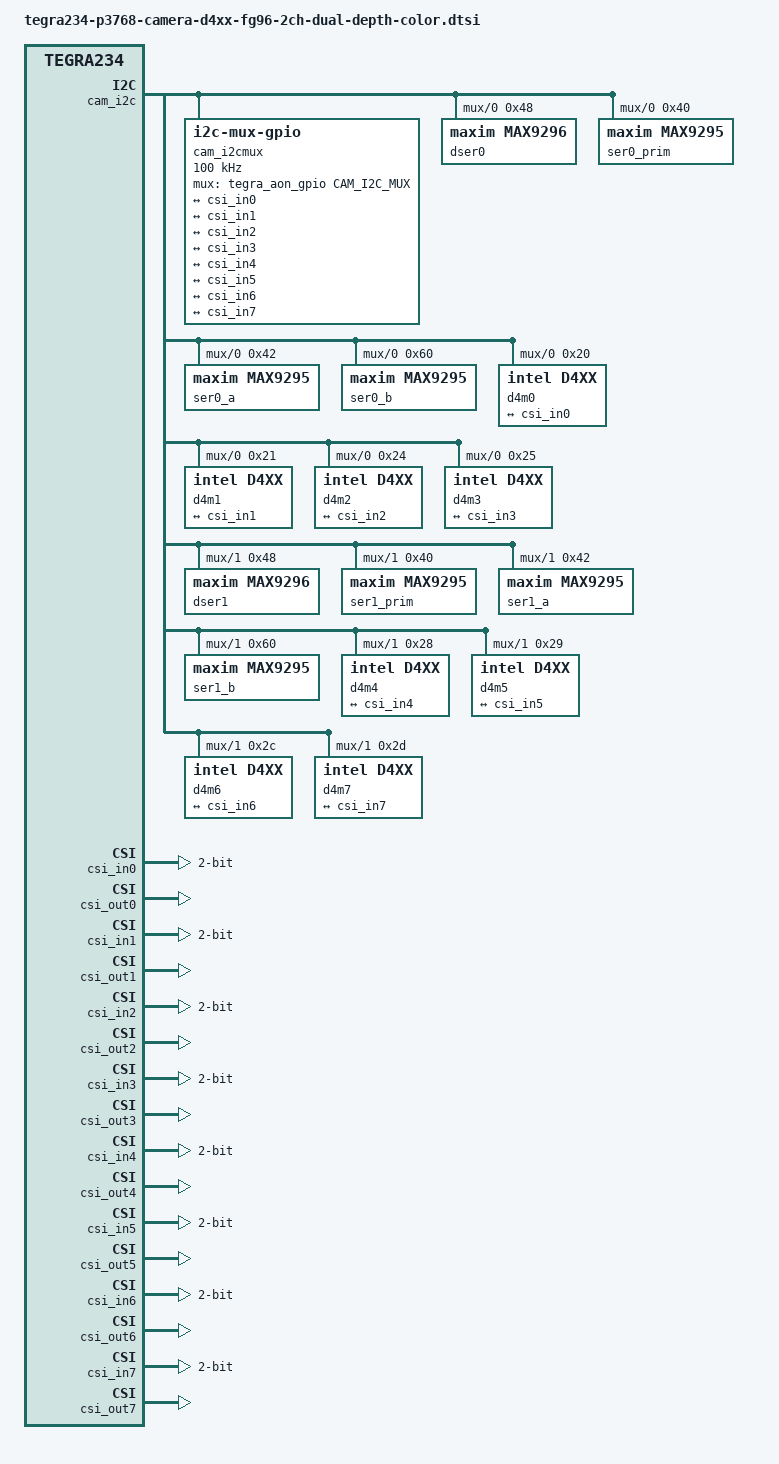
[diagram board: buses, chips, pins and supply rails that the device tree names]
// URL: https://fg96-2ch-doc.readthedocs.io/

#include <dt-bindings/media/camera.h>

#define CAM0_PWDN   TEGRA234_MAIN_GPIO(H, 6)
#define CAM1_PWDN   TEGRA234_MAIN_GPIO(AC, 0)
#define CAM_I2C_MUX TEGRA234_AON_GPIO(CC, 3)

// d4m addr 0x001cclss
// cc: max9296 index.  [0-3] for fg96
// l : a/b link index. [0-1] for a/b
// ss: stream index.   [0-3] for stream. 0: depth 1: color 2: ir 3: imu
// 4x max9296 - 4x d457
// [0x20-0x23][0x28-0x2b][0x30-0x33][0x38-0x3b]
// 4x max9296 - 8x d457
// [0x20-0x23][0x24-0x27]
// [0x28-0x2b][0x2c-0x2f]
// [0x30-0x33][0x34-0x37]
// [0x38-0x3b][0x3c-0x3f]

/ {
	// gpio@2200000 {
	// 	camera-control-output-low {
	// 		gpio-hog;
	// 		output-low;
	// 		gpios = <CAM0_PWDN 0 CAM1_PWDN 0>;
	// 		label = "cam0-pwdn","cam1-pwdn";
	// 	};
	// };

	cam_i2cmux {
		status = "okay";
		compatible = "i2c-mux-gpio";
		#address-cells = <1>;
		#size-cells = <0>;
		i2c-parent = <&cam_i2c>;
		mux-gpios = <&tegra_aon_gpio CAM_I2C_MUX GPIO_ACTIVE_HIGH>;
		clock-frequency = <100000>;

		i2c@0 {
			status = "okay";
			reg = <0>;
			#address-cells = <1>;
			#size-cells = <0>;
			/* MAX9296 I2C2_0x48 - CSI0/1 */
			dser0: max9296@48 {
				status = "okay";
				reg = <0x48>;
				compatible = "maxim,max9296";
				csi-mode = "2x4";
				max-src = <2>;
				is-fg96-2ch;
			};
			ser0_prim: max9295_prim@40 {
				reg = <0x40>;
				compatible = "maxim,max9295";
				#address-cells = <1>;
				#size-cells = <0>;
				is-prim-ser;
				ser-mux = <0>;
			};
			ser0_a: max9295_a@42 {
				reg = <0x42>;
				compatible = "maxim,max9295";
				maxim,gmsl-dser-device = <&dser0>;
			};
			ser0_b: max9295_b@60 {
				reg = <0x60>;
				compatible = "maxim,max9295";
				maxim,gmsl-dser-device = <&dser0>;
			};
			d4m0: d4m@20 {
				status = "okay";
				reg = <0x20>;
				def-addr = <0x10>;
				compatible = "intel,d4xx";
				cam-type = "Depth";
				maxim,gmsl-ser-device = <&ser0_a>;
				maxim,gmsl-dser-device = <&dser0>;
				intel,d4m-mux-device = <&d4m1>;
				ports {
					#address-cells = <1>;
					#size-cells = <0>;

					port@0 {
						reg = <0>;
						d4m0_out: endpoint {
							port-index = <0>;
							bus-width = <2>;
							vc-id = <0>;
							remote-endpoint = <&csi_in0>;
						};
					};
				};
				mode0 {
					pixel_t = "grey_y16";
					num_lanes = "2";
					csi_pixel_bit_depth = "16";
					active_w = "1280";
					active_h = "720";
					tegra_sinterface = "serial_a";
					mclk_khz = "24000";
					pix_clk_hz = "74250000";
					line_length = "1280"; /* 2200 */
					embedded_metadata_height = "1";
				};
				gmsl-link {
					src-csi-port = "b";
					dst-csi-port = "a";
					serdes-csi-link = "a";
					csi-mode = "1x4";
					st-vc = <0>;
					vc-id = <0>;
					num-lanes = <2>;
					ser-mux = <0>;
				};
			};
			d4m1: d4m@21 {
				status = "okay";
				reg = <0x21>;
				def-addr = <0x10>;
				compatible = "intel,d4xx";
				cam-type = "RGB";
				maxim,gmsl-ser-device = <&ser0_a>;
				maxim,gmsl-dser-device = <&dser0>;
				intel,d4m-mux-device = <&d4m1>;
				ports {
					#address-cells = <1>;
					#size-cells = <0>;

					port@0 {
						reg = <0>;
						d4m1_out: endpoint {
							port-index = <0>;
							bus-width = <2>;
							vc-id = <1>;
							remote-endpoint = <&csi_in1>;
						};
					};
				};
				mode0 {
					pixel_t = "grey_y16";
					num_lanes = "2";
					csi_pixel_bit_depth = "16";
					active_w = "1920";
					active_h = "1080";
					tegra_sinterface = "serial_a";
					mclk_khz = "24000";
					pix_clk_hz = "74250000";
					line_length = "1280";
					embedded_metadata_height = "1";
				};
				gmsl-link {
					src-csi-port = "b";
					dst-csi-port = "a";
					serdes-csi-link = "a";
					csi-mode = "1x4";
					st-vc = <0>;
					vc-id = <1>;
					num-lanes = <2>;
					ser-mux = <0>;
				};
			};
			d4m2: d4m@24 {
				status = "okay";
				reg = <0x24>;
				def-addr = <0x10>;
				compatible = "intel,d4xx";
				cam-type = "Depth";
				maxim,gmsl-ser-device = <&ser0_b>;
				maxim,gmsl-dser-device = <&dser0>;
				intel,d4m-mux-device = <&d4m3>;
				ports {
					#address-cells = <1>;
					#size-cells = <0>;

					port@0 {
						reg = <0>;
						d4m2_out: endpoint {
							port-index = <0>;
							bus-width = <2>;
							vc-id = <2>;
							remote-endpoint = <&csi_in2>;
						};
					};
				};
				mode0 {
					pixel_t = "grey_y16";
					num_lanes = "2";
					csi_pixel_bit_depth = "16";
					active_w = "1280";
					active_h = "720";
					tegra_sinterface = "serial_a";
					mclk_khz = "24000";
					pix_clk_hz = "74250000";
					line_length = "1280"; /* 2200 */
					embedded_metadata_height = "1";
				};
				gmsl-link {
					src-csi-port = "b";
					dst-csi-port = "a";
					serdes-csi-link = "b";
					csi-mode = "1x4";
					st-vc = <0>;
					vc-id = <2>;
					num-lanes = <2>;
					ser-mux = <0>;
				};
			};
			d4m3: d4m@25 {
				status = "okay";
				reg = <0x25>;
				def-addr = <0x10>;
				compatible = "intel,d4xx";
				cam-type = "RGB";
				maxim,gmsl-ser-device = <&ser0_b>;
				maxim,gmsl-dser-device = <&dser0>;
				intel,d4m-mux-device = <&d4m3>;
				ports {
					#address-cells = <1>;
					#size-cells = <0>;

					port@0 {
						reg = <0>;
						d4m3_out: endpoint {
							port-index = <0>;
							bus-width = <2>;
							vc-id = <3>;
							remote-endpoint = <&csi_in3>;
						};
					};
				};
				mode0 {
					pixel_t = "grey_y16";
					num_lanes = "2";
					csi_pixel_bit_depth = "16";
					active_w = "1920";
					active_h = "1080";
					tegra_sinterface = "serial_a";
					mclk_khz = "24000";
					pix_clk_hz = "74250000";
					line_length = "1280";
					embedded_metadata_height = "1";
				};
				gmsl-link {
					src-csi-port = "b";
					dst-csi-port = "a";
					serdes-csi-link = "b";
					csi-mode = "1x4";
					st-vc = <0>;
					vc-id = <3>;
					num-lanes = <2>;
					ser-mux = <0>;
				};
			};
		};
		i2c@1 {
			status = "okay";
			reg = <1>;
			#address-cells = <1>;
			#size-cells = <0>;
			/* MAX9296 I2C2_0x48 - CSI2/3 */
			dser1: max9296@48 {
				status = "okay";
				reg = <0x48>;
				compatible = "maxim,max9296";
				csi-mode = "2x4";
				max-src = <2>;
				is-fg96-2ch;
			};

			ser1_prim: max9295_prim@40 {
				status = "okay";
				reg = <0x40>;
				compatible = "maxim,max9295";
				is-prim-ser;
				ser-mux = <1>;
			};

			ser1_a: max9295_a@42 {
				compatible = "maxim,max9295";
				reg = <0x42>;
				maxim,gmsl-dser-device = <&dser1>;
			};
			ser1_b: max9295_b@60 {
				compatible = "maxim,max9295";
				reg = <0x60>;
				maxim,gmsl-dser-device = <&dser1>;
			};

			d4m4: d4m@28 {
				status = "okay";
				reg = <0x28>;
				def-addr = <0x10>;
				compatible = "intel,d4xx";
				cam-type = "Depth";
				maxim,gmsl-ser-device = <&ser1_a>;
				maxim,gmsl-dser-device = <&dser1>;
				intel,d4m-mux-device = <&d4m5>;
				ports {
					#address-cells = <1>;
					#size-cells = <0>;

					port@0 {
						reg = <0>;
						d4m4_out: endpoint {
							port-index = <2>;
							bus-width = <2>;
							vc-id = <0>;
							remote-endpoint = <&csi_in4>;
						};
					};
				};
				mode0 {
					pixel_t = "grey_y16";
					num_lanes = "2";
					csi_pixel_bit_depth = "16";
					active_w = "1280";
					active_h = "720";
					tegra_sinterface = "serial_c";
					mclk_khz = "24000";
					pix_clk_hz = "74250000";
					line_length = "1280";
					embedded_metadata_height = "1";
				};
				gmsl-link {
					src-csi-port = "b";
					dst-csi-port = "a";
					serdes-csi-link = "a";
					csi-mode = "1x4";
					st-vc = <0>;
					vc-id = <0>;
					num-lanes = <2>;
					ser-mux = <1>;
				};
			};

			d4m5: d4m@29 {
				status = "okay";
				reg = <0x29>;
				def-addr = <0x10>;
				compatible = "intel,d4xx";
				cam-type = "RGB";
				maxim,gmsl-ser-device = <&ser1_a>;
				maxim,gmsl-dser-device = <&dser1>;
				intel,d4m-mux-device = <&d4m5>;
				ports {
					#address-cells = <1>;
					#size-cells = <0>;

					port@0 {
						reg = <0>;
						d4m5_out: endpoint {
							port-index = <2>;
							bus-width = <2>;
							vc-id = <1>;
							remote-endpoint = <&csi_in5>;
						};
					};
				};
				mode0 {
					pixel_t = "grey_y16";
					num_lanes = "2";
					csi_pixel_bit_depth = "16";
					active_w = "1920";
					active_h = "1080";
					tegra_sinterface = "serial_c";
					mclk_khz = "24000";
					pix_clk_hz = "74250000";
					line_length = "1280";
					embedded_metadata_height = "1";
				};
				gmsl-link {
					src-csi-port = "b";
					dst-csi-port = "a";
					serdes-csi-link = "a";
					csi-mode = "1x4";
					st-vc = <0>;
					vc-id = <1>;
					num-lanes = <2>;
					ser-mux = <1>;
				};
			};

			d4m6: d4m@2c {
				status = "okay";
				reg = <0x2c>;
				def-addr = <0x10>;
				compatible = "intel,d4xx";
				cam-type = "Depth";
				maxim,gmsl-ser-device = <&ser1_b>;
				maxim,gmsl-dser-device = <&dser1>;
				intel,d4m-mux-device = <&d4m7>;
				ports {
					#address-cells = <1>;
					#size-cells = <0>;

					port@0 {
						reg = <0>;
						d4m6_out: endpoint {
							port-index = <2>;
							bus-width = <2>;
							vc-id = <2>;
							remote-endpoint = <&csi_in6>;
						};
					};
				};
				mode0 {
					pixel_t = "grey_y16";
					num_lanes = "2";
					csi_pixel_bit_depth = "16";
					active_w = "1280";
					active_h = "720";
					tegra_sinterface = "serial_c";
					mclk_khz = "24000";
					pix_clk_hz = "74250000";
					line_length = "1280";
					embedded_metadata_height = "1";
				};
				gmsl-link {
					src-csi-port = "b";
					dst-csi-port = "a";
					serdes-csi-link = "b";
					csi-mode = "1x4";
					st-vc = <0>;
					vc-id = <2>;
					num-lanes = <2>;
					ser-mux = <1>;
				};
			};

			d4m7: d4m@2d {
				status = "okay";
				reg = <0x2d>;
				def-addr = <0x10>;
				compatible = "intel,d4xx";
				cam-type = "RGB";
				maxim,gmsl-ser-device = <&ser1_b>;
				maxim,gmsl-dser-device = <&dser1>;
				intel,d4m-mux-device = <&d4m7>;
				ports {
					#address-cells = <1>;
					#size-cells = <0>;

					port@0 {
						reg = <0>;
						d4m7_out: endpoint {
							port-index = <2>;
							bus-width = <2>;
							vc-id = <3>;
							remote-endpoint = <&csi_in7>;
						};
					};
				};
				mode0 {
					pixel_t = "grey_y16";
					num_lanes = "2";
					csi_pixel_bit_depth = "16";
					active_w = "1920";
					active_h = "1080";
					tegra_sinterface = "serial_c";
					mclk_khz = "24000";
					pix_clk_hz = "74250000";
					line_length = "1280";
					embedded_metadata_height = "1";
				};
				gmsl-link {
					src-csi-port = "b";
					dst-csi-port = "a";
					serdes-csi-link = "b";
					csi-mode = "1x4";
					st-vc = <0>;
					vc-id = <3>;
					num-lanes = <2>;
					ser-mux = <1>;
				};
			};
		};
	};

	tegra-capture-vi {
		num-channels = <8>;

		ports {
			#address-cells = <0x1>;
			#size-cells = <0x0>;

			port@0 {
				reg = <0>;
				status = "okay";

				vi_in0: endpoint {
					status = "okay";
					vc-id = <0>;
					port-index = <0>;
					bus-width = <2>;
					remote-endpoint = <&csi_out0>;
				};
			};
			port@1 {
				reg = <1>;
				status = "okay";

				vi_in1: endpoint {
					status = "okay";
					vc-id = <1>;
					port-index = <0>;
					bus-width = <2>;
					remote-endpoint = <&csi_out1>;
				};
			};
			port@2 {
				reg = <2>;
				status = "okay";

				vi_in2: endpoint {
					status = "okay";
					vc-id = <2>;
					port-index = <0>;
					bus-width = <2>;
					remote-endpoint = <&csi_out2>;
				};
			};
			port@3 {
				reg = <3>;
				status = "okay";

				vi_in3: endpoint {
					status = "okay";
					vc-id = <3>;
					port-index = <0>;
					bus-width = <2>;
					remote-endpoint = <&csi_out3>;
				};
			};
			port@4 {
				reg = <4>;
				status = "okay";

				vi_in4: endpoint {
					status = "okay";
					vc-id = <0>;
					port-index = <2>;
					bus-width = <2>;
					remote-endpoint = <&csi_out4>;
				};
			};
			port@5 {
				reg = <5>;
				status = "okay";

				vi_in5: endpoint {
					status = "okay";
					vc-id = <1>;
					port-index = <2>;
					bus-width = <2>;
					remote-endpoint = <&csi_out5>;
				};
			};
			port@6 {
				reg = <6>;
				status = "okay";

				vi_in6: endpoint {
					status = "okay";
					vc-id = <2>;
					port-index = <2>;
					bus-width = <2>;
					remote-endpoint = <&csi_out6>;
				};
			};
			port@7 {
				reg = <7>;
				status = "okay";

				vi_in7: endpoint {
					status = "okay";
					vc-id = <3>;
					port-index = <2>;
					bus-width = <2>;
					remote-endpoint = <&csi_out7>;
				};
			};
		};
	};

	host1x@13e00000 {
		nvcsi@15a00000 {
			#address-cells = <1>;
			#size-cells = <0>;

			num-channels = <8>;

			channel@0 {
				reg = <0>;
				status = "okay";

				ports {
					#address-cells = <1>;
					#size-cells = <0>;

					port@0 {
						reg = <0>;
						status = "okay";

						csi_in0: endpoint@0 {
							status = "okay";
							port-index = <0>;
							bus-width = <2>;
							remote-endpoint = <&d4m0_out>;
						};
					};
					port@1 {
						reg = <1>;
						status = "okay";
						csi_out0: endpoint@1 {
							status = "okay";
							remote-endpoint = <&vi_in0>;
						};
					};
				};
			};
			channel@1 {
				reg = <1>;
				status = "okay";

				ports {
					#address-cells = <1>;
					#size-cells = <0>;

					port@0 {
						reg = <0>;
						status = "okay";

						csi_in1: endpoint@2 {
							status = "okay";
							port-index = <0>;
							bus-width = <2>;
							remote-endpoint = <&d4m1_out>;
						};
					};
					port@1 {
						reg = <1>;
						status = "okay";
						csi_out1: endpoint@3 {
							status = "okay";
							remote-endpoint = <&vi_in1>;
						};
					};
				};
			};
			channel@2 {
				reg = <2>;
				status = "okay";

				ports {
					#address-cells = <1>;
					#size-cells = <0>;

					port@0 {
						reg = <0>;
						status = "okay";

						csi_in2: endpoint@4 {
							status = "okay";
							port-index = <0>;
							bus-width = <2>;
							remote-endpoint = <&d4m2_out>;
						};
					};
					port@1 {
						reg = <1>;
						status = "okay";
						csi_out2: endpoint@5 {
							status = "okay";
							remote-endpoint = <&vi_in2>;
						};
					};
				};
			};
			channel@3 {
				reg = <3>;
				status = "okay";

				ports {
					#address-cells = <1>;
					#size-cells = <0>;

					port@0 {
						reg = <0>;
						status = "okay";

						csi_in3: endpoint@6 {
							status = "okay";
							port-index = <0>;
							bus-width = <2>;
							remote-endpoint = <&d4m3_out>;
						};
					};
					port@1 {
						reg = <1>;
						status = "okay";
						csi_out3: endpoint@7 {
							status = "okay";
							remote-endpoint = <&vi_in3>;
						};
					};
				};
			};
			channel@4 {
				reg = <4>;
				status = "okay";

				ports {
					#address-cells = <1>;
					#size-cells = <0>;

					port@0 {
						reg = <0>;
						status = "okay";

						csi_in4: endpoint@8 {
							status = "okay";
							port-index = <2>;
							bus-width = <2>;
							remote-endpoint = <&d4m4_out>;
						};
					};
					port@1 {
						reg = <1>;
						status = "okay";
						csi_out4: endpoint@9 {
							status = "okay";
							remote-endpoint = <&vi_in4>;
						};
					};
				};
			};
			channel@5 {
				reg = <5>;
				status = "okay";

				ports {
					#address-cells = <1>;
					#size-cells = <0>;

					port@0 {
						reg = <0>;
						status = "okay";

						csi_in5: endpoint@10 {
							status = "okay";
							port-index = <2>;
							bus-width = <2>;
							remote-endpoint = <&d4m5_out>;
						};
					};
					port@1 {
						reg = <1>;
						status = "okay";
						csi_out5: endpoint@11 {
							status = "okay";
							remote-endpoint = <&vi_in5>;
						};
					};
				};
			};
			channel@6 {
				reg = <6>;
				status = "okay";

				ports {
					#address-cells = <1>;
					#size-cells = <0>;

					port@0 {
						reg = <0>;
						status = "okay";

						csi_in6: endpoint@12 {
							status = "okay";
							port-index = <2>;
							bus-width = <2>;
							remote-endpoint = <&d4m6_out>;
						};
					};
					port@1 {
						reg = <1>;
						status = "okay";
						csi_out6: endpoint@13 {
							status = "okay";
							remote-endpoint = <&vi_in6>;
						};
					};
				};
			};
			channel@7 {
				reg = <7>;
				status = "okay";

				ports {
					#address-cells = <1>;
					#size-cells = <0>;

					port@0 {
						reg = <0>;
						status = "okay";

						csi_in7: endpoint@14 {
							status = "okay";
							port-index = <2>;
							bus-width = <2>;
							remote-endpoint = <&d4m7_out>;
						};
					};
					port@1 {
						reg = <1>;
						status = "okay";
						csi_out7: endpoint@15 {
							status = "okay";
							remote-endpoint = <&vi_in7>;
						};
					};
				};
			};
		};
	};
};
